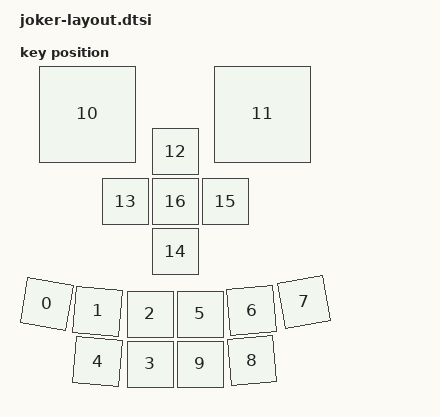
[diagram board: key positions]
#include <physical_layouts.dtsi>

/ {
    joker_layout: joker_layout {
        compatible = "zmk,physical-layout";
        display-name = "Layout";
        transform = <&default_transform>;

        keys  //                     w   h    x    y     rot    rx    ry
            = <&key_physical_attrs 100 100   75  415    1000     1     1>
            , <&key_physical_attrs 100 100  137  430     500     1     1>
            , <&key_physical_attrs 100 100  200  450       0     1     1>
            , <&key_physical_attrs 100 100  200  550       0     1     1>
            , <&key_physical_attrs 100 100  146  530     500     1     1>
            , <&key_physical_attrs 100 100  300  450       0     1     1>
            , <&key_physical_attrs 100 100  358  480   (-500)    1     1>
            , <&key_physical_attrs 100 100  416  515  (-1000)    1     1>
            , <&key_physical_attrs 100 100  350  580   (-500)    1     1>
            , <&key_physical_attrs 100 100  300  550       0     1     1>
            , <&key_physical_attrs 200 200   25    0       0     1     1>
            , <&key_physical_attrs 200 200  375    0       0     1     1>
            , <&key_physical_attrs 100 100  250  125       0     1     1>
            , <&key_physical_attrs 100 100  150  225       0     1     1>
            , <&key_physical_attrs 100 100  250  325       0     1     1>
            , <&key_physical_attrs 100 100  350  225       0     1     1>
            , <&key_physical_attrs 100 100  250  225       0     1     1>
            ;
    };
};
